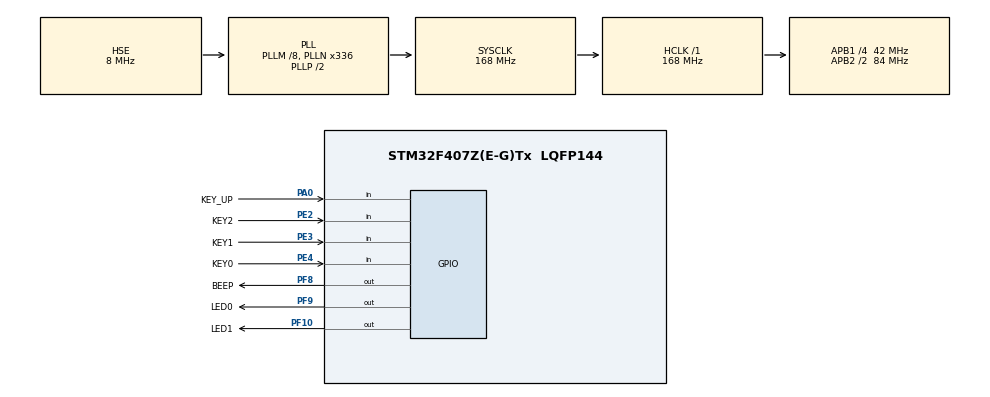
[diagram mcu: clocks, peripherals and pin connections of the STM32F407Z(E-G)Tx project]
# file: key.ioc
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Mcu.Family=STM32F4
Mcu.Name=STM32F407Z(E-G)Tx
Mcu.Package=LQFP144
NVIC.PriorityGroup=NVIC_PRIORITYGROUP_4
PA0-WKUP.GPIO_Label=KEY_UP
PA0-WKUP.GPIO_PuPd=GPIO_PULLDOWN
PA0-WKUP.Signal=GPIO_Input
PA13.Mode=JTAG_4_pins
PA13.Signal=SYS_JTMS-SWDIO
PA14.Mode=JTAG_4_pins
PA14.Signal=SYS_JTCK-SWCLK
PA15.Mode=JTAG_4_pins
PA15.Signal=SYS_JTDI
PB3.Mode=JTAG_4_pins
PB3.Signal=SYS_JTDO-SWO
PC14-OSC32_IN.Mode=LSE-External-Oscillator
PC14-OSC32_IN.Signal=RCC_OSC32_IN
PC15-OSC32_OUT.Mode=LSE-External-Oscillator
PC15-OSC32_OUT.Signal=RCC_OSC32_OUT
PE2.GPIO_Label=KEY2
PE2.GPIO_PuPd=GPIO_PULLUP
PE2.Signal=GPIO_Input
PE3.GPIO_Label=KEY1
PE3.GPIO_PuPd=GPIO_PULLUP
PE3.Signal=GPIO_Input
PE4.GPIO_Label=KEY0
PE4.GPIO_PuPd=GPIO_PULLUP
PE4.Signal=GPIO_Input
PF10.GPIO_Label=LED1
PF10.GPIO_PuPd=GPIO_PULLUP
PF10.GPIO_Speed=GPIO_SPEED_FREQ_HIGH
PF10.PinState=GPIO_PIN_SET
PF10.Signal=GPIO_Output
PF8.GPIO_Label=BEEP
PF8.GPIO_PuPd=GPIO_PULLUP
PF8.GPIO_Speed=GPIO_SPEED_FREQ_HIGH
PF8.PinState=GPIO_PIN_SET
PF8.Signal=GPIO_Output
PF9.GPIO_Label=LED0
PF9.GPIO_PuPd=GPIO_PULLUP
PF9.GPIO_Speed=GPIO_SPEED_FREQ_HIGH
PF9.PinState=GPIO_PIN_SET
PF9.Signal=GPIO_Output
PH0-OSC_IN.Mode=HSE-External-Oscillator
PH0-OSC_IN.Signal=RCC_OSC_IN
PH1-OSC_OUT.Mode=HSE-External-Oscillator
PH1-OSC_OUT.Signal=RCC_OSC_OUT
ProjectManager.HeapSize=0x200
ProjectManager.StackSize=0x400
ProjectManager.TargetToolchain=Makefile
RCC.48MHZClocksFreq_Value=84000000
RCC.AHBFreq_Value=168000000
RCC.APB1CLKDivider=RCC_HCLK_DIV4
RCC.APB1Freq_Value=42000000
RCC.APB1TimFreq_Value=84000000
RCC.APB2CLKDivider=RCC_HCLK_DIV2
RCC.APB2Freq_Value=84000000
RCC.APB2TimFreq_Value=168000000
RCC.CortexFreq_Value=168000000
RCC.HCLKFreq_Value=168000000
RCC.HSE_VALUE=8000000
RCC.HSI_VALUE=16000000
RCC.PLLM=8
RCC.PLLN=336
RCC.PLLSourceVirtual=RCC_PLLSOURCE_HSE
RCC.SYSCLKFreq_VALUE=168000000
RCC.SYSCLKSource=RCC_SYSCLKSOURCE_PLLCLK
RCC.VCOOutputFreq_Value=336000000
board=custom

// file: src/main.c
/* USER CODE BEGIN Header */
/**
 ******************************************************************************
 * @file           : main.c
 * @brief          : Main program body
 ******************************************************************************
 * @attention
 *
 * Copyright (c) 2023 STMicroelectronics.
 * All rights reserved.
 *
 * This software is licensed under terms that can be found in the LICENSE file
 * in the root directory of this software component.
 * If no LICENSE file comes with this software, it is provided AS-IS.
 *
 ******************************************************************************
 */
/* USER CODE END Header */
#include "main.h"

#include "gpio.h"

/* USER CODE BEGIN PTD */
typedef int bool;
/* USER CODE END PTD */

/* USER CODE BEGIN PD */
#define TurnOnLED(x) \
  HAL_GPIO_WritePin(LED##x##_GPIO_Port, LED##x##_Pin, GPIO_PIN_SET)
#define TurnOffLED(x) \
  HAL_GPIO_WritePin(LED##x##_GPIO_Port, LED##x##_Pin, GPIO_PIN_RESET)
#define ToggleLED(x) HAL_GPIO_TogglePin(LED##x##_GPIO_Port, LED##x##_Pin)

#define TurnOnBeep() HAL_GPIO_WritePin(BEEP_GPIO_Port, BEEP_Pin, GPIO_PIN_SET)
#define TurnOffBeep() \
  HAL_GPIO_WritePin(BEEP_GPIO_Port, BEEP_Pin, GPIO_PIN_RESET)
#define ToggleBeep() HAL_GPIO_TogglePin(BEEP_GPIO_Port, BEEP_Pin)

#define KEY0 HAL_GPIO_ReadPin(KEY0_GPIO_Port, KEY0_Pin)
#define KEY1 HAL_GPIO_ReadPin(KEY1_GPIO_Port, KEY1_Pin)
#define KEY2 HAL_GPIO_ReadPin(KEY2_GPIO_Port, KEY2_Pin)
#define KEY_UP HAL_GPIO_ReadPin(KEY_UP_GPIO_Port, KEY_UP_Pin)

#define IsDownKey0() (KEY0 == 0)
#define IsDownKey1() (KEY1 == 0)
#define IsDownKey2() (KEY2 == 0)
#define IsDownKeyUP() (KEY_UP == 1)

/* USER CODE END PD */

/* USER CODE BEGIN PM */
#define true 1
#define false 0
#define not !
/* USER CODE END PM */

void SystemClock_Config(void);

int main(void) {

  /* MCU Configuration--------------------------------------------------------*/

  /* Reset of all peripherals, Initializes the Flash interface and the Systick.
   */
  HAL_Init();

  /* Configure the system clock */
  SystemClock_Config();

  /* Initialize all configured peripherals */
  MX_GPIO_Init();
  /* USER CODE BEGIN 2 */
  bool keyHasDown = false;
  /* USER CODE END 2 */

  /* Infinite loop */
  while (1) {
    if (not keyHasDown) {
      if (IsDownKeyUP()) {
        ToggleBeep();
        keyHasDown = true;
      }
      if (IsDownKey0()) {
        ToggleLED(0);
        keyHasDown = true;
      }
      if (IsDownKey1()) {
        ToggleLED(0);
        keyHasDown = true;
      }
      if (IsDownKey2()) {
        ToggleLED(0);
        ToggleLED(1);
        keyHasDown = true;
      }
    } else {
      if (!IsDownKeyUP() && !IsDownKey0() && !IsDownKey1() && !IsDownKey2()) {
        keyHasDown = false;
      }
    }
    HAL_Delay(10);
  }
}

void SystemClock_Config(void) {
  RCC_OscInitTypeDef RCC_OscInitStruct = {0};
  RCC_ClkInitTypeDef RCC_ClkInitStruct = {0};

  /** Configure the main internal regulator output voltage
   */
  __HAL_RCC_PWR_CLK_ENABLE();
  __HAL_PWR_VOLTAGESCALING_CONFIG(PWR_REGULATOR_VOLTAGE_SCALE1);

  /** Initializes the RCC Oscillators according to the specified parameters
   * in the RCC_OscInitTypeDef structure.
   */
  RCC_OscInitStruct.OscillatorType = RCC_OSCILLATORTYPE_HSE;
  RCC_OscInitStruct.HSEState = RCC_HSE_ON;
  RCC_OscInitStruct.PLL.PLLState = RCC_PLL_ON;
  RCC_OscInitStruct.PLL.PLLSource = RCC_PLLSOURCE_HSE;
  RCC_OscInitStruct.PLL.PLLM = 8;
  RCC_OscInitStruct.PLL.PLLN = 336;
  RCC_OscInitStruct.PLL.PLLP = RCC_PLLP_DIV2;
  RCC_OscInitStruct.PLL.PLLQ = 4;
  if (HAL_RCC_OscConfig(&RCC_OscInitStruct) != HAL_OK) {
    Error_Handler();
  }

  /** Initializes the CPU, AHB and APB buses clocks
   */
  RCC_ClkInitStruct.ClockType = RCC_CLOCKTYPE_HCLK | RCC_CLOCKTYPE_SYSCLK |
                                RCC_CLOCKTYPE_PCLK1 | RCC_CLOCKTYPE_PCLK2;
  RCC_ClkInitStruct.SYSCLKSource = RCC_SYSCLKSOURCE_PLLCLK;
  RCC_ClkInitStruct.AHBCLKDivider = RCC_SYSCLK_DIV1;
  RCC_ClkInitStruct.APB1CLKDivider = RCC_HCLK_DIV4;
  RCC_ClkInitStruct.APB2CLKDivider = RCC_HCLK_DIV2;

  if (HAL_RCC_ClockConfig(&RCC_ClkInitStruct, FLASH_LATENCY_5) != HAL_OK) {
    Error_Handler();
  }
}

void Error_Handler(void) {
  __disable_irq();
  while (1) {
  }
}

#ifdef USE_FULL_ASSERT
/**
 * @brief  Reports the name of the source file and the source line number
 *         where the assert_param error has occurred.
 * @param  file: pointer to the source file name
 * @param  line: assert_param error line source number
 * @retval None
 */
void assert_failed(uint8_t *file, uint32_t line) {
  /* USER CODE BEGIN 6 */
  /* User can add his own implementation to report the file name and line
     number, ex: printf("Wrong parameters value: file %s on line %d\r\n", file,
     line) */
  /* USER CODE END 6 */
}
#endif /* USE_FULL_ASSERT */
